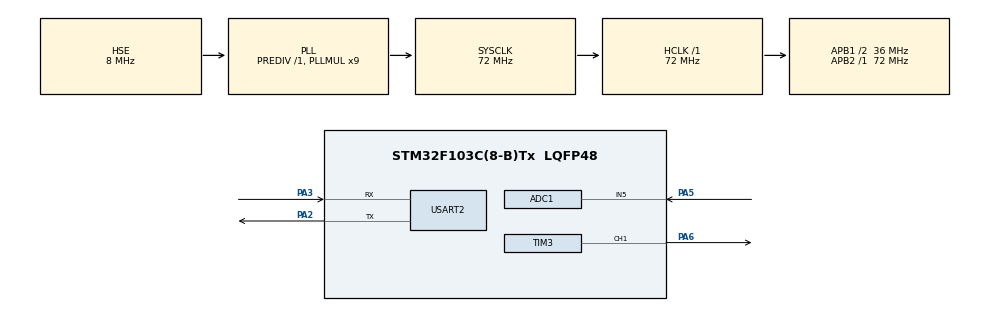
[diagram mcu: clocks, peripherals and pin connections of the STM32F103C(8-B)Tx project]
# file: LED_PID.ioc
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ADC1.Channel-0\#ChannelRegularConversion=ADC_CHANNEL_5
ADC1.ContinuousConvMode=ENABLE
ADC1.NbrOfConversionFlag=1
ADC1.Rank-0\#ChannelRegularConversion=1
ADC1.SamplingTime-0\#ChannelRegularConversion=ADC_SAMPLETIME_1CYCLE_5
ADC1.master=1
Mcu.Family=STM32F1
Mcu.Name=STM32F103C(8-B)Tx
Mcu.Package=LQFP48
NVIC.PriorityGroup=NVIC_PRIORITYGROUP_4
NVIC.USART2_IRQn=true\:0\:0\:false\:false\:true\:true\:true\:true
PA13.Mode=Serial_Wire
PA13.Signal=SYS_JTMS-SWDIO
PA14.Mode=Serial_Wire
PA14.Signal=SYS_JTCK-SWCLK
PA2.Mode=Asynchronous
PA2.Signal=USART2_TX
PA3.Mode=Asynchronous
PA3.Signal=USART2_RX
PA5.Signal=ADCx_IN5
PA6.Signal=S_TIM3_CH1
PD0-OSC_IN.Mode=HSE-External-Oscillator
PD0-OSC_IN.Signal=RCC_OSC_IN
PD1-OSC_OUT.Mode=HSE-External-Oscillator
PD1-OSC_OUT.Signal=RCC_OSC_OUT
ProjectManager.HeapSize=0x200
ProjectManager.StackSize=0x400
ProjectManager.TargetToolchain=CMake
RCC.ADCPresc=RCC_ADCPCLK2_DIV6
RCC.AHBFreq_Value=72000000
RCC.APB1CLKDivider=RCC_HCLK_DIV2
RCC.APB1Freq_Value=36000000
RCC.APB1TimFreq_Value=72000000
RCC.APB2Freq_Value=72000000
RCC.APB2TimFreq_Value=72000000
RCC.HCLKFreq_Value=72000000
RCC.PLLMUL=RCC_PLL_MUL9
RCC.PLLSourceVirtual=RCC_PLLSOURCE_HSE
RCC.SYSCLKFreq_VALUE=72000000
RCC.SYSCLKSource=RCC_SYSCLKSOURCE_PLLCLK
RCC.USBFreq_Value=72000000
SH.ADCx_IN5.0=ADC1_IN5,IN5
SH.S_TIM3_CH1.0=TIM3_CH1,PWM Generation1 CH1
TIM3.Channel-PWM\ Generation1\ CH1=TIM_CHANNEL_1
TIM3.Period=100-1
TIM3.Prescaler=72-1
USART2.VirtualMode=VM_ASYNC
VP_TIM3_VS_ClockSourceINT.Mode=Internal
board=custom

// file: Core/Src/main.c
/* USER CODE BEGIN Header */
/**
  ******************************************************************************
  * @file           : main.c
  * @brief          : Main program body
  ******************************************************************************
  * @attention
  *
  * Copyright (c) 2026 STMicroelectronics.
  * All rights reserved.
  *
  * This software is licensed under terms that can be found in the LICENSE file
  * in the root directory of this software component.
  * If no LICENSE file comes with this software, it is provided AS-IS.
  *
  ******************************************************************************
  */
/* USER CODE END Header */
#include "main.h"

#include <stdio.h>
#include <string.h>

#include "adc.h"
#include "tim.h"
#include "usart.h"
#include "gpio.h"

/* USER CODE BEGIN Includes */
#include <stdlib.h>

#include "PID.h"
/* USER CODE END Includes */

/* USER CODE BEGIN PTD */
#define RECEIEVE_DATA_LENGTH 3

char message[100];
char receiveData[RECEIEVE_DATA_LENGTH+1]={'\0'},buffer='\0';
uint16_t next_voltage_mv=0,target_PWM=50;

/* USER CODE END PTD */

void SystemClock_Config(void);

/* USER CODE BEGIN 0 */

//通信
void HAL_UART_RxCpltCallback(UART_HandleTypeDef *huart)
{

  if(huart->Instance == USART2)
  {
    //与发信端约定固定长度RECEIEVE_DATA_LENGTH，便于解析信号
    static uint8_t index=0;
    if (index<RECEIEVE_DATA_LENGTH-1)
    {

      receiveData[index]=buffer;
      index++;
    }
    else
    {

      receiveData[index]=buffer;
      index++;

      receiveData[index]='\0';
       target_PWM=atoi(receiveData);

      //限制范围
      if (target_PWM<0)
        target_PWM=0;
      if (target_PWM>100)
        target_PWM=100;
      //指针归零
      index=0;

      //反馈
      sprintf(message,"target_PWM: %d %%\r\n", target_PWM);
      HAL_UART_Transmit_IT(&huart2,message,strlen(message));

    }
    //为下一轮接收准备
    HAL_UART_Receive_IT(&huart2,&buffer,1);
  }

}
/* USER CODE END 0 */

int main(void)
{

  /* MCU Configuration--------------------------------------------------------*/

  /* Reset of all peripherals, Initializes the Flash interface and the Systick. */
  HAL_Init();

  /* Configure the system clock */
  SystemClock_Config();

  /* Initialize all configured peripherals */
  MX_GPIO_Init();
  MX_ADC1_Init();
  MX_TIM3_Init();
  MX_USART2_UART_Init();

  /* USER CODE BEGIN 2 */
int value=0;
  float voltage_mv=0;

  HAL_ADCEx_Calibration_Start(&hadc1);
  HAL_ADC_Start(&hadc1);
  HAL_ADC_PollForConversion(&hadc1,HAL_MAX_DELAY);
  HAL_TIM_PWM_Start(&htim3,TIM_CHANNEL_1);
  //上机/复位反馈
  HAL_UART_Transmit(&huart2,"DONE\r\n",strlen("DONE"),HAL_MAX_DELAY);
  //第一次接收，确保进中断
  HAL_UART_Receive_IT(&huart2,&buffer,1);

  __HAL_TIM_SET_COMPARE(&htim3,TIM_CHANNEL_1,50);
  /* USER CODE END 2 */

  /* Infinite loop */
  while (1)
  {
    //获取光敏电阻电压
 value=HAL_ADC_GetValue(&hadc1);
uint16_t voltage_mv=((float)(value)*3.3)/4095*1000;

    //利用PID函数获取目标电压（mv），即将输出的PWM（%）,即将输出的电压（mv）

  uint16_t  output_PWM_voltage[3]={0},target_voltage_mv=0,next_PWM=0,next_voltage_mv=0;

    PID_Light(target_PWM,voltage_mv,output_PWM_voltage);
    target_voltage_mv=output_PWM_voltage[0];
    next_PWM=output_PWM_voltage[1];
    next_voltage_mv=output_PWM_voltage[2];

    //改变占空比
   __HAL_TIM_SET_COMPARE(&htim3,TIM_CHANNEL_1,next_PWM);

    //每s刷新数据 目标pwm 目标电压 目前电压 即将输出的电压
   // sprintf(message,"target_PWM:%d %% ,target_voltage: %d mV,current Voltage: %d mV,next Voltage: %d mV\r\n",target_PWM,(uint16_t)(target_voltage_mv),(uint16_t)(voltage_mv),next_voltage_mv);
    //目标电压 目前电压 即将输出的电压
    sprintf(message,"%d ,%d,%d\r\n",(uint16_t)(target_voltage_mv),(uint16_t)(voltage_mv),next_voltage_mv);

    HAL_UART_Transmit_IT(&huart2,(uint8_t*)message,strlen(message));

    HAL_Delay(20);

  }
}

void SystemClock_Config(void)
{
  RCC_OscInitTypeDef RCC_OscInitStruct = {0};
  RCC_ClkInitTypeDef RCC_ClkInitStruct = {0};
  RCC_PeriphCLKInitTypeDef PeriphClkInit = {0};

  /** Initializes the RCC Oscillators according to the specified parameters
  * in the RCC_OscInitTypeDef structure.
  */
  RCC_OscInitStruct.OscillatorType = RCC_OSCILLATORTYPE_HSE;
  RCC_OscInitStruct.HSEState = RCC_HSE_ON;
  RCC_OscInitStruct.HSEPredivValue = RCC_HSE_PREDIV_DIV1;
  RCC_OscInitStruct.HSIState = RCC_HSI_ON;
  RCC_OscInitStruct.PLL.PLLState = RCC_PLL_ON;
  RCC_OscInitStruct.PLL.PLLSource = RCC_PLLSOURCE_HSE;
  RCC_OscInitStruct.PLL.PLLMUL = RCC_PLL_MUL9;
  if (HAL_RCC_OscConfig(&RCC_OscInitStruct) != HAL_OK)
  {
    Error_Handler();
  }

  /** Initializes the CPU, AHB and APB buses clocks
  */
  RCC_ClkInitStruct.ClockType = RCC_CLOCKTYPE_HCLK|RCC_CLOCKTYPE_SYSCLK
                              |RCC_CLOCKTYPE_PCLK1|RCC_CLOCKTYPE_PCLK2;
  RCC_ClkInitStruct.SYSCLKSource = RCC_SYSCLKSOURCE_PLLCLK;
  RCC_ClkInitStruct.AHBCLKDivider = RCC_SYSCLK_DIV1;
  RCC_ClkInitStruct.APB1CLKDivider = RCC_HCLK_DIV2;
  RCC_ClkInitStruct.APB2CLKDivider = RCC_HCLK_DIV1;

  if (HAL_RCC_ClockConfig(&RCC_ClkInitStruct, FLASH_LATENCY_2) != HAL_OK)
  {
    Error_Handler();
  }
  PeriphClkInit.PeriphClockSelection = RCC_PERIPHCLK_ADC;
  PeriphClkInit.AdcClockSelection = RCC_ADCPCLK2_DIV6;
  if (HAL_RCCEx_PeriphCLKConfig(&PeriphClkInit) != HAL_OK)
  {
    Error_Handler();
  }
}

void Error_Handler(void)
{
  __disable_irq();
  while (1)
  {
  }
}
